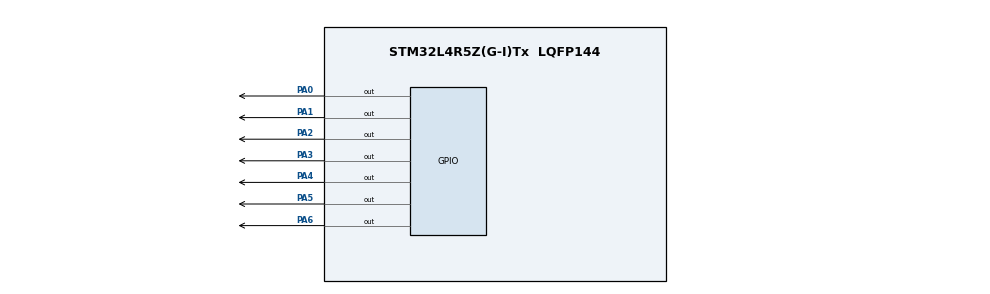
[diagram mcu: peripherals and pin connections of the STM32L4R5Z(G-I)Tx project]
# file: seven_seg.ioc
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Mcu.Family=STM32L4
Mcu.Name=STM32L4R5Z(G-I)Tx
Mcu.Package=LQFP144
NVIC.PriorityGroup=NVIC_PRIORITYGROUP_4
PA0.Signal=GPIO_Output
PA1.Signal=GPIO_Output
PA13\ (JTMS/SWDIO).Mode=Serial_Wire
PA13\ (JTMS/SWDIO).Signal=SYS_JTMS-SWDIO
PA14\ (JTCK/SWCLK).Mode=Serial_Wire
PA14\ (JTCK/SWCLK).Signal=SYS_JTCK-SWCLK
PA2.Signal=GPIO_Output
PA3.Signal=GPIO_Output
PA4.Signal=GPIO_Output
PA5.Signal=GPIO_Output
PA6.Signal=GPIO_Output
ProjectManager.HeapSize=0x200
ProjectManager.StackSize=0x400
ProjectManager.TargetToolchain=STM32CubeIDE
RCC.HSE_VALUE=8000000
RCC.HSI48_VALUE=48000000
RCC.HSI_VALUE=16000000
RCC.LSE_VALUE=32768
RCC.MSI_VALUE=4000000
RCC.VCOOutputFreq_Value=32000000
board=custom

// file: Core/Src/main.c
/* USER CODE BEGIN Header */
/**
  ******************************************************************************
  * @file           : main.c
  * @brief          : Main program body
  ******************************************************************************
  * @attention
  *
  * Copyright (c) 2024 STMicroelectronics.
  * All rights reserved.
  *
  * This software is licensed under terms that can be found in the LICENSE file
  * in the root directory of this software component.
  * If no LICENSE file comes with this software, it is provided AS-IS.
  *
  ******************************************************************************
  */
/* USER CODE END Header */
#include "main.h"

void SystemClock_Config(void);
static void MX_GPIO_Init(void);

/* USER CODE BEGIN 0 */
void SevSegUp(uint8_t number){
	  HAL_GPIO_WritePin(GPIOA, GPIO_PIN_0, ((number>>0)&0x01));
	  HAL_GPIO_WritePin(GPIOA, GPIO_PIN_1, ((number>>1)&0x01));
	  HAL_GPIO_WritePin(GPIOA, GPIO_PIN_2, ((number>>2)&0x01));
	  HAL_GPIO_WritePin(GPIOA, GPIO_PIN_3, ((number>>3)&0x01));
	  HAL_GPIO_WritePin(GPIOA, GPIO_PIN_4, ((number>>4)&0x01));
	  HAL_GPIO_WritePin(GPIOA, GPIO_PIN_5, ((number>>5)&0x01));
	  HAL_GPIO_WritePin(GPIOA, GPIO_PIN_6, ((number>>6)&0x01));
}
/* USER CODE END 0 */

int main(void)
{

  /* MCU Configuration--------------------------------------------------------*/

  /* Reset of all peripherals, Initializes the Flash interface and the Systick. */
  HAL_Init();

  /* Configure the system clock */
  SystemClock_Config();

  /* Initialize all configured peripherals */
  MX_GPIO_Init();
  /* USER CODE BEGIN 2 */

  uint8_t segNum[10] = {
		  0x3f,
		  0x06,
		  0x5b,
		  0x4f,
		  0x66,
		  0x6d,
		  0x7d,
		  0x07,
		  0x7f,
		  0x67
  };
  /* USER CODE END 2 */

  /* Infinite loop */
  while (1)
  {

//	  SevSegUp(segNum[5]);

    /* USER CODE BEGIN 3 */
	  for(int i = 0; i < 10; i++){
		  SevSegUp(segNum[i]);
		  HAL_Delay(1000);
	  }

  }

  /* USER CODE END 3 */
}

void SystemClock_Config(void)
{
  RCC_OscInitTypeDef RCC_OscInitStruct = {0};
  RCC_ClkInitTypeDef RCC_ClkInitStruct = {0};

  /** Configure the main internal regulator output voltage
  */
  if (HAL_PWREx_ControlVoltageScaling(PWR_REGULATOR_VOLTAGE_SCALE1) != HAL_OK)
  {
    Error_Handler();
  }

  /** Initializes the RCC Oscillators according to the specified parameters
  * in the RCC_OscInitTypeDef structure.
  */
  RCC_OscInitStruct.OscillatorType = RCC_OSCILLATORTYPE_MSI;
  RCC_OscInitStruct.MSIState = RCC_MSI_ON;
  RCC_OscInitStruct.MSICalibrationValue = 0;
  RCC_OscInitStruct.MSIClockRange = RCC_MSIRANGE_6;
  RCC_OscInitStruct.PLL.PLLState = RCC_PLL_NONE;
  if (HAL_RCC_OscConfig(&RCC_OscInitStruct) != HAL_OK)
  {
    Error_Handler();
  }

  /** Initializes the CPU, AHB and APB buses clocks
  */
  RCC_ClkInitStruct.ClockType = RCC_CLOCKTYPE_HCLK|RCC_CLOCKTYPE_SYSCLK
                              |RCC_CLOCKTYPE_PCLK1|RCC_CLOCKTYPE_PCLK2;
  RCC_ClkInitStruct.SYSCLKSource = RCC_SYSCLKSOURCE_MSI;
  RCC_ClkInitStruct.AHBCLKDivider = RCC_SYSCLK_DIV1;
  RCC_ClkInitStruct.APB1CLKDivider = RCC_HCLK_DIV1;
  RCC_ClkInitStruct.APB2CLKDivider = RCC_HCLK_DIV1;

  if (HAL_RCC_ClockConfig(&RCC_ClkInitStruct, FLASH_LATENCY_0) != HAL_OK)
  {
    Error_Handler();
  }
}

static void MX_GPIO_Init(void)
{
  GPIO_InitTypeDef GPIO_InitStruct = {0};

  /* GPIO Ports Clock Enable */
  __HAL_RCC_GPIOA_CLK_ENABLE();

  /*Configure GPIO pin Output Level */
  HAL_GPIO_WritePin(GPIOA, GPIO_PIN_0|GPIO_PIN_1|GPIO_PIN_2|GPIO_PIN_3
                          |GPIO_PIN_4|GPIO_PIN_5|GPIO_PIN_6, GPIO_PIN_RESET);

  /*Configure GPIO pins : PA0 PA1 PA2 PA3
                           PA4 PA5 PA6 */
  GPIO_InitStruct.Pin = GPIO_PIN_0|GPIO_PIN_1|GPIO_PIN_2|GPIO_PIN_3
                          |GPIO_PIN_4|GPIO_PIN_5|GPIO_PIN_6;
  GPIO_InitStruct.Mode = GPIO_MODE_OUTPUT_PP;
  GPIO_InitStruct.Pull = GPIO_NOPULL;
  GPIO_InitStruct.Speed = GPIO_SPEED_FREQ_LOW;
  HAL_GPIO_Init(GPIOA, &GPIO_InitStruct);

}

void Error_Handler(void)
{
  __disable_irq();
  while (1)
  {
  }
}
